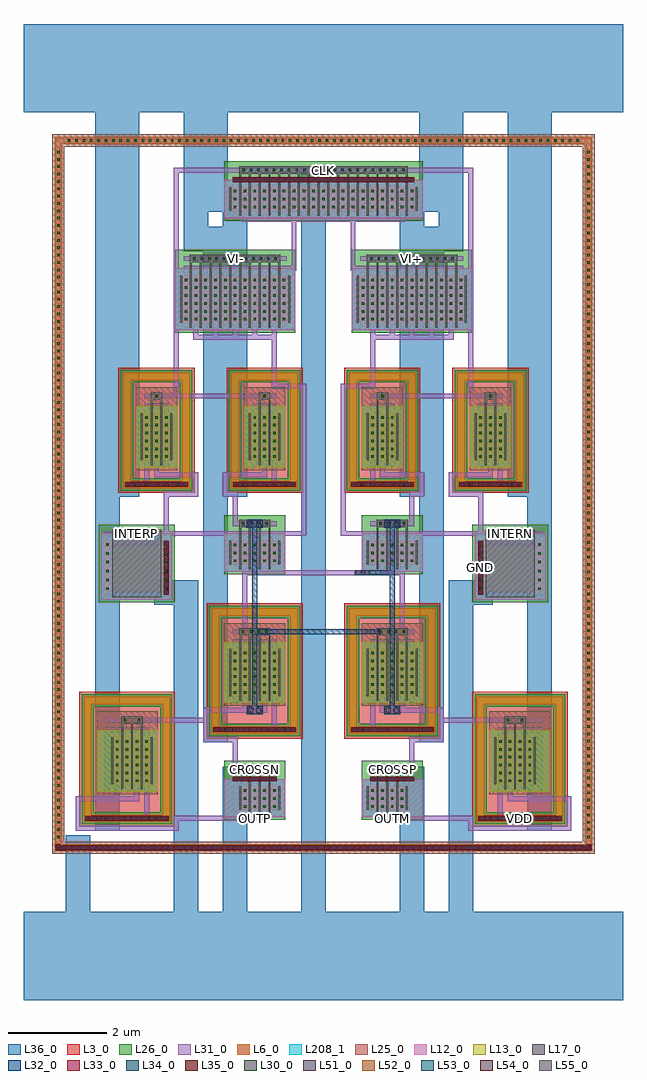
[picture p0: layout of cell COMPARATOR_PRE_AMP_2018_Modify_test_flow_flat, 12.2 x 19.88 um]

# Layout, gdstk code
import gdstk
lib = gdstk.Library(unit=1e-6, precision=1e-09)
def R(c, l, rs):  # rectangles x0, y0, x1, y1
    for r in rs: c.add(gdstk.rectangle(r[:2], r[2:], *l))
def A(c, l, x, y, w, h, nx, ny, dx, dy):  # array of equal rectangles
    R(c, l, [(x+i*dx, y+j*dy, x+i*dx+w, y+j*dy+h) for i in range(nx) for j in range(ny)])
L3_0 = (3, 0)
L6_0 = (6, 0)
L12_0 = (12, 0)
L13_0 = (13, 0)
L17_0 = (17, 0)
L25_0 = (25, 0)
L26_0 = (26, 0)
L30_0 = (30, 0)
L31_0 = (31, 0)
L32_0 = (32, 0)
L33_0 = (33, 0)
L34_0 = (34, 0)
L35_0 = (35, 0)
L36_0 = (36, 0)
L51_0 = (51, 0)
L52_0 = (52, 0)
L53_0 = (53, 0)
L54_0 = (54, 0)
L55_0 = (55, 0)
L208_1 = (208, 1)

comparator_pre_amp_2018_ = lib.new_cell('COMPARATOR_PRE_AMP_2018_Modify_test_flow_flat')
R(comparator_pre_amp_2018_, L3_0, [(-0.575,-0.375,1.375,2.375), (7.425,-0.375,9.375,2.375), (-0.22,0.34,1.02,1.6), (7.78,0.34,9.02,1.6), (2.025,1.425,3.975,4.175), (4.825,1.425,6.775,4.175), (2.38,2.14,3.62,3.4), (5.18,2.14,6.42,3.4), (0.225,6.425,1.775,8.975), (2.425,6.425,3.975,8.975), (4.825,6.425,6.375,8.975), (7.025,6.425,8.575,8.975), (0.58,6.94,1.42,8.2), (2.78,6.94,3.62,8.2), (5.18,6.94,6.02,8.2), (7.38,6.94,8.22,8.2)])
A(comparator_pre_amp_2018_, L6_0, 2.525, 6.525, 0.15, 0.15, 4, 2, 1.2, 2.2)
A(comparator_pre_amp_2018_, L6_0, 2.525, 6.675, 0.15, 2.05, 4, 1, 1.2, 0)
R(comparator_pre_amp_2018_, L6_0, [(-1.075,-0.875,-0.925,-0.725), (-0.925,-0.875,9.725,-0.725), (9.725,-0.875,9.875,-0.725), (-1.075,-0.725,-0.925,13.525), (9.725,-0.725,9.875,13.525), (-0.475,-0.275,-0.325,-0.125), (-0.325,-0.275,1.125,-0.125), (1.125,-0.275,1.275,-0.125), (7.525,-0.275,7.675,-0.125), (7.675,-0.275,9.125,-0.125), (9.125,-0.275,9.275,-0.125), (-0.475,-0.125,-0.325,2.125), (1.125,-0.125,1.275,2.125), (7.525,-0.125,7.675,2.125), (9.125,-0.125,9.275,2.125), (2.725,-0.03,3.475,0.45), (5.325,-0.03,6.075,0.45), (0.125,0.49,0.875,1.45), (7.925,0.49,8.675,1.45), (2.125,1.525,2.275,1.675), (2.275,1.525,3.725,1.675), (3.725,1.525,3.875,1.675), (4.925,1.525,5.075,1.675), (5.075,1.525,6.525,1.675), (6.525,1.525,6.675,1.675), (2.125,1.675,2.275,3.925), (3.725,1.675,3.875,3.925), (4.925,1.675,5.075,3.925), (6.525,1.675,6.675,3.925), (-0.475,2.125,-0.325,2.275), (-0.325,2.125,1.125,2.275), (1.125,2.125,1.275,2.275), (7.525,2.125,7.675,2.275), (7.675,2.125,9.125,2.275), (9.125,2.125,9.275,2.275), (2.525,2.29,3.475,3.25), (5.325,2.29,6.275,3.25), (2.125,3.925,2.275,4.075), (2.275,3.925,3.725,4.075), (3.725,3.925,3.875,4.075), (4.925,3.925,5.075,4.075), (5.075,3.925,6.525,4.075), (6.525,3.925,6.675,4.075), (-0.075,4.4,1.275,5.45), (7.525,4.4,8.875,5.45), (2.525,4.97,3.475,5.45), (5.325,4.97,6.275,5.45), (0.325,6.525,0.475,6.675), (0.475,6.525,1.525,6.675), (1.525,6.525,1.675,6.675), (2.675,6.525,3.725,6.675), (5.075,6.525,6.125,6.675), (7.125,6.525,7.275,6.675), (7.275,6.525,8.325,6.675), (8.325,6.525,8.475,6.675), (0.325,6.675,0.475,8.725), (1.525,6.675,1.675,8.725), (7.125,6.675,7.275,8.725), (8.325,6.675,8.475,8.725), (0.725,7.09,1.275,8.05), (2.925,7.09,3.475,8.05), (5.325,7.09,5.875,8.05), (7.525,7.09,8.075,8.05), (0.325,8.725,0.475,8.875), (0.475,8.725,1.525,8.875), (1.525,8.725,1.675,8.875), (2.675,8.725,3.725,8.875), (5.075,8.725,6.125,8.875), (7.125,8.725,7.275,8.875), (7.275,8.725,8.325,8.875), (8.325,8.725,8.475,8.875), (1.525,9.89,3.675,10.85), (5.125,9.89,7.275,10.85), (2.525,12.17,6.275,12.65), (-1.075,13.525,-0.925,13.675), (-0.925,13.525,9.725,13.675), (9.725,13.525,9.875,13.675)])
R(comparator_pre_amp_2018_, L12_0, [(2.38,-0.18,3.62,0.6), (5.18,-0.18,6.42,0.6), (-0.125,4.25,1.325,5.6), (7.475,4.25,8.925,5.6), (2.38,4.82,3.62,5.6), (5.18,4.82,6.42,5.6), (1.38,9.74,3.82,11), (4.98,9.74,7.42,11), (2.38,12.02,6.42,12.8)])
R(comparator_pre_amp_2018_, L13_0, [(-0.22,0.34,1.02,1.6), (7.78,0.34,9.02,1.6), (2.38,2.14,3.62,3.4), (5.18,2.14,6.42,3.4), (0.58,6.94,1.42,8.2), (2.78,6.94,3.62,8.2), (5.18,6.94,6.02,8.2), (7.38,6.94,8.22,8.2)])
A(comparator_pre_amp_2018_, L17_0, 2.88, -0.13, 0.04, 0.68, 3, 1, 0.2, 0)
A(comparator_pre_amp_2018_, L17_0, 5.48, -0.13, 0.04, 0.68, 3, 1, 0.2, 0)
A(comparator_pre_amp_2018_, L17_0, 0.28, 0.39, 0.04, 1.16, 3, 1, 0.2, 0)
A(comparator_pre_amp_2018_, L17_0, 8.08, 0.39, 0.04, 1.16, 3, 1, 0.2, 0)
A(comparator_pre_amp_2018_, L17_0, 2.88, 0.45, 0.04, 0.3, 3, 1, 0.2, 0)
A(comparator_pre_amp_2018_, L17_0, 5.48, 0.45, 0.04, 0.3, 3, 1, 0.2, 0)
A(comparator_pre_amp_2018_, L17_0, 0.28, 1.45, 0.04, 0.3, 3, 1, 0.2, 0)
A(comparator_pre_amp_2018_, L17_0, 8.08, 1.45, 0.04, 0.3, 3, 1, 0.2, 0)
A(comparator_pre_amp_2018_, L17_0, 2.68, 2.19, 0.04, 1.16, 4, 1, 0.2, 0)
A(comparator_pre_amp_2018_, L17_0, 5.48, 2.19, 0.04, 1.16, 4, 1, 0.2, 0)
A(comparator_pre_amp_2018_, L17_0, 2.68, 3.25, 0.04, 0.3, 4, 2, 0.2, 2.2)
A(comparator_pre_amp_2018_, L17_0, 5.48, 3.25, 0.04, 0.3, 4, 2, 0.2, 2.2)
A(comparator_pre_amp_2018_, L17_0, 2.68, 4.87, 0.04, 0.68, 4, 1, 0.2, 0)
A(comparator_pre_amp_2018_, L17_0, 5.48, 4.87, 0.04, 0.68, 4, 1, 0.2, 0)
A(comparator_pre_amp_2018_, L17_0, 1.68, 9.79, 0.04, 1.16, 10, 1, 0.2, 0)
A(comparator_pre_amp_2018_, L17_0, 5.28, 9.79, 0.04, 1.16, 10, 1, 0.2, 0)
A(comparator_pre_amp_2018_, L17_0, 1.68, 10.85, 0.04, 0.3, 10, 1, 0.2, 0)
A(comparator_pre_amp_2018_, L17_0, 5.28, 10.85, 0.04, 0.3, 10, 1, 0.2, 0)
A(comparator_pre_amp_2018_, L17_0, 2.68, 12.07, 0.04, 0.68, 18, 1, 0.2, 0)
A(comparator_pre_amp_2018_, L17_0, 2.68, 12.65, 0.04, 0.3, 18, 1, 0.2, 0)
R(comparator_pre_amp_2018_, L17_0, [(2.68,-0.03,2.72,0.45), (3.48,-0.03,3.52,0.45), (5.28,-0.03,5.32,0.45), (6.08,-0.03,6.12,0.45), (0.08,0.49,0.12,1.45), (0.88,0.49,0.92,1.45), (7.88,0.49,7.92,1.45), (8.68,0.49,8.72,1.45), (2.88,0.725,3.32,0.875), (5.48,0.725,5.92,0.875), (0.28,1.725,0.72,1.875), (8.08,1.725,8.52,1.875), (2.48,2.29,2.52,3.25), (3.48,2.29,3.52,3.25), (5.28,2.29,5.32,3.25), (6.28,2.29,6.32,3.25), (2.68,3.525,3.32,3.675), (5.48,3.525,6.12,3.675), (0.1,4.3,1.1,5.55), (7.7,4.3,8.7,5.55), (2.48,4.97,2.52,5.45), (3.48,4.97,3.52,5.45), (5.28,4.97,5.32,5.45), (6.28,4.97,6.32,5.45), (0.1,5.45,1.1,5.675), (7.7,5.45,8.7,5.675), (2.68,5.725,3.32,5.875), (5.48,5.725,6.12,5.875), (0.88,6.99,0.92,8.15), (1.08,6.99,1.12,8.15), (3.08,6.99,3.12,8.15), (3.28,6.99,3.32,8.15), (5.48,6.99,5.52,8.15), (5.68,6.99,5.72,8.15), (7.68,6.99,7.72,8.15), (7.88,6.99,7.92,8.15), (0.68,7.09,0.72,8.05), (1.28,7.09,1.32,8.05), (2.88,7.09,2.92,8.05), (3.48,7.09,3.52,8.05), (5.28,7.09,5.32,8.05), (5.88,7.09,5.92,8.05), (7.48,7.09,7.52,8.05), (8.08,7.09,8.12,8.05), (0.88,8.05,0.92,8.35), (1.08,8.05,1.12,8.35), (3.08,8.05,3.12,8.35), (3.28,8.05,3.32,8.35), (5.48,8.05,5.52,8.35), (5.68,8.05,5.72,8.35), (7.68,8.05,7.72,8.35), (7.88,8.05,7.92,8.35), (0.88,8.325,1.12,8.475), (3.08,8.325,3.32,8.475), (5.48,8.325,5.72,8.475), (7.68,8.325,7.92,8.475), (1.48,9.89,1.52,10.85), (3.68,9.89,3.72,10.85), (5.08,9.89,5.12,10.85), (7.28,9.89,7.32,10.85), (1.68,11.125,3.52,11.275), (5.28,11.125,7.12,11.275), (2.48,12.17,2.52,12.65), (6.28,12.17,6.32,12.65), (2.68,12.925,6.12,13.075)])
R(comparator_pre_amp_2018_, L25_0, [(-1.125,-0.925,-0.875,-0.675), (-0.925,-0.925,9.725,-0.675), (9.675,-0.925,9.925,-0.675), (-1.125,-0.725,-0.875,13.525), (9.675,-0.725,9.925,13.525), (-0.22,0.29,1.02,1.975), (7.78,0.29,9.02,1.975), (2.38,2.09,3.62,3.775), (5.18,2.09,6.42,3.775), (0.58,6.89,1.42,8.575), (2.78,6.89,3.62,8.575), (5.18,6.89,6.02,8.575), (7.38,6.89,8.22,8.575), (-1.125,13.475,-0.875,13.725), (-0.925,13.475,9.725,13.725), (9.675,13.475,9.925,13.725)])
A(comparator_pre_amp_2018_, L26_0, 2.475, 6.475, 0.25, 0.25, 4, 2, 1.2, 2.2)
A(comparator_pre_amp_2018_, L26_0, 2.475, 6.675, 0.25, 2.05, 4, 1, 1.2, 0)
R(comparator_pre_amp_2018_, L26_0, [(-0.525,-0.325,-0.275,-0.075), (-0.325,-0.325,1.125,-0.075), (1.075,-0.325,1.325,-0.075), (7.475,-0.325,7.725,-0.075), (7.675,-0.325,9.125,-0.075), (9.075,-0.325,9.325,-0.075), (2.38,-0.23,3.62,0.975), (5.18,-0.23,6.42,0.975), (-0.525,-0.125,-0.275,2.125), (1.075,-0.125,1.325,2.125), (7.475,-0.125,7.725,2.125), (9.075,-0.125,9.325,2.125), (2.075,1.475,2.325,1.725), (2.275,1.475,3.725,1.725), (3.675,1.475,3.925,1.725), (4.875,1.475,5.125,1.725), (5.075,1.475,6.525,1.725), (6.475,1.475,6.725,1.725), (2.075,1.675,2.325,3.925), (3.675,1.675,3.925,3.925), (4.875,1.675,5.125,3.925), (6.475,1.675,6.725,3.925), (-0.525,2.075,-0.275,2.325), (-0.325,2.075,1.125,2.325), (1.075,2.075,1.325,2.325), (7.475,2.075,7.725,2.325), (7.675,2.075,9.125,2.325), (9.075,2.075,9.325,2.325), (2.075,3.875,2.325,4.125), (2.275,3.875,3.725,4.125), (3.675,3.875,3.925,4.125), (4.875,3.875,5.125,4.125), (5.075,3.875,6.525,4.125), (6.475,3.875,6.725,4.125), (-0.175,4.2,1.375,5.775), (7.425,4.2,8.975,5.775), (2.38,4.77,3.62,5.975), (5.18,4.77,6.42,5.975), (0.275,6.475,0.525,6.725), (0.475,6.475,1.525,6.725), (1.475,6.475,1.725,6.725), (2.675,6.475,3.725,6.725), (5.075,6.475,6.125,6.725), (7.075,6.475,7.325,6.725), (7.275,6.475,8.325,6.725), (8.275,6.475,8.525,6.725), (0.275,6.675,0.525,8.725), (1.475,6.675,1.725,8.725), (7.075,6.675,7.325,8.725), (8.275,6.675,8.525,8.725), (0.275,8.675,0.525,8.925), (0.475,8.675,1.525,8.925), (1.475,8.675,1.725,8.925), (2.675,8.675,3.725,8.925), (5.075,8.675,6.125,8.925), (7.075,8.675,7.325,8.925), (7.275,8.675,8.325,8.925), (8.275,8.675,8.525,8.925), (1.38,9.69,3.82,11.375), (4.98,9.69,7.42,11.375), (2.38,11.97,6.42,13.175)])
A(comparator_pre_amp_2018_, L30_0, -0.805, -0.825, 0.05, 0.05, 70, 2, 0.15, 14.4)
A(comparator_pre_amp_2018_, L30_0, -1.025, -0.605, 0.05, 0.05, 1, 94, 0, 0.15)
A(comparator_pre_amp_2018_, L30_0, 9.775, -0.605, 0.05, 0.05, 1, 94, 0, 0.15)
A(comparator_pre_amp_2018_, L30_0, -0.265, -0.225, 0.05, 0.05, 9, 1, 0.16, 0)
A(comparator_pre_amp_2018_, L30_0, 7.735, -0.225, 0.05, 0.05, 9, 1, 0.16, 0)
A(comparator_pre_amp_2018_, L30_0, 2.775, 0.02, 0.05, 0.05, 4, 3, 0.2, 0.16)
A(comparator_pre_amp_2018_, L30_0, 5.375, 0.02, 0.05, 0.05, 4, 3, 0.2, 0.16)
A(comparator_pre_amp_2018_, L30_0, 0.175, 0.54, 0.05, 0.05, 4, 6, 0.2, 0.16)
A(comparator_pre_amp_2018_, L30_0, 7.975, 0.54, 0.05, 0.05, 4, 6, 0.2, 0.16)
A(comparator_pre_amp_2018_, L30_0, 2.335, 1.575, 0.05, 0.05, 9, 1, 0.16, 0)
A(comparator_pre_amp_2018_, L30_0, 5.135, 1.575, 0.05, 0.05, 9, 1, 0.16, 0)
A(comparator_pre_amp_2018_, L30_0, 2.575, 2.34, 0.05, 0.05, 5, 6, 0.2, 0.16)
A(comparator_pre_amp_2018_, L30_0, 5.375, 2.34, 0.05, 0.05, 5, 6, 0.2, 0.16)
A(comparator_pre_amp_2018_, L30_0, 2.735, 3.575, 0.05, 0.05, 4, 2, 0.16, 2.2)
A(comparator_pre_amp_2018_, L30_0, 5.535, 3.575, 0.05, 0.05, 4, 2, 0.16, 2.2)
A(comparator_pre_amp_2018_, L30_0, -0.025, 4.45, 0.05, 0.05, 1, 6, 0, 0.18)
A(comparator_pre_amp_2018_, L30_0, 1.175, 4.45, 0.05, 0.05, 1, 6, 0, 0.18)
A(comparator_pre_amp_2018_, L30_0, 7.575, 4.45, 0.05, 0.05, 1, 6, 0, 0.18)
A(comparator_pre_amp_2018_, L30_0, 8.775, 4.45, 0.05, 0.05, 1, 6, 0, 0.18)
A(comparator_pre_amp_2018_, L30_0, 2.575, 5.02, 0.05, 0.05, 5, 3, 0.2, 0.16)
A(comparator_pre_amp_2018_, L30_0, 5.375, 5.02, 0.05, 0.05, 5, 3, 0.2, 0.16)
A(comparator_pre_amp_2018_, L30_0, 0.16, 5.575, 0.05, 0.05, 6, 1, 0.165, 0)
A(comparator_pre_amp_2018_, L30_0, 7.765, 5.575, 0.05, 0.05, 6, 1, 0.165, 0)
A(comparator_pre_amp_2018_, L30_0, 0.525, 6.575, 0.05, 0.05, 6, 1, 0.18, 0)
A(comparator_pre_amp_2018_, L30_0, 2.725, 6.575, 0.05, 0.05, 6, 1, 0.18, 0)
A(comparator_pre_amp_2018_, L30_0, 5.125, 6.575, 0.05, 0.05, 6, 1, 0.18, 0)
A(comparator_pre_amp_2018_, L30_0, 7.325, 6.575, 0.05, 0.05, 6, 1, 0.18, 0)
A(comparator_pre_amp_2018_, L30_0, 0.775, 7.14, 0.05, 0.05, 3, 6, 0.2, 0.16)
A(comparator_pre_amp_2018_, L30_0, 2.975, 7.14, 0.05, 0.05, 3, 6, 0.2, 0.16)
A(comparator_pre_amp_2018_, L30_0, 5.375, 7.14, 0.05, 0.05, 3, 6, 0.2, 0.16)
A(comparator_pre_amp_2018_, L30_0, 7.575, 7.14, 0.05, 0.05, 3, 6, 0.2, 0.16)
A(comparator_pre_amp_2018_, L30_0, 1.575, 9.94, 0.05, 0.05, 11, 6, 0.2, 0.16)
A(comparator_pre_amp_2018_, L30_0, 5.175, 9.94, 0.05, 0.05, 11, 6, 0.2, 0.16)
A(comparator_pre_amp_2018_, L30_0, 1.75, 11.175, 0.05, 0.05, 12, 1, 0.15, 0)
A(comparator_pre_amp_2018_, L30_0, 5.35, 11.175, 0.05, 0.05, 12, 1, 0.15, 0)
A(comparator_pre_amp_2018_, L30_0, 2.575, 12.225, 0.05, 0.05, 19, 3, 0.2, 0.16)
A(comparator_pre_amp_2018_, L30_0, 2.745, 12.975, 0.05, 0.05, 22, 1, 0.155, 0)
R(comparator_pre_amp_2018_, L30_0, [(2.935,0.775,2.985,0.825), (3.22,0.775,3.27,0.825), (5.53,0.775,5.58,0.825), (5.815,0.775,5.865,0.825), (0.335,1.775,0.385,1.825), (0.62,1.775,0.67,1.825), (8.13,1.775,8.18,1.825), (8.415,1.775,8.465,1.825), (0.975,8.375,1.025,8.425), (3.175,8.375,3.225,8.425), (5.575,8.375,5.625,8.425), (7.775,8.375,7.825,8.425)])
A(comparator_pre_amp_2018_, L31_0, 2.55, -0.05, 0.1, 0.5, 5, 2, 0.2, 5)
A(comparator_pre_amp_2018_, L31_0, 5.35, -0.05, 0.1, 0.5, 5, 2, 0.2, 5)
A(comparator_pre_amp_2018_, L31_0, 2.75, -0.03, 0.1, 0.48, 4, 1, 0.2, 0)
A(comparator_pre_amp_2018_, L31_0, 5.35, -0.03, 0.1, 0.48, 4, 1, 0.2, 0)
A(comparator_pre_amp_2018_, L31_0, -0.05, 0.35, 0.1, 1.1, 5, 1, 0.2, 0)
A(comparator_pre_amp_2018_, L31_0, 7.95, 0.35, 0.1, 1.1, 5, 1, 0.2, 0)
A(comparator_pre_amp_2018_, L31_0, 2.55, 0.45, 0.1, 0.1, 3, 2, 0.4, 2.8)
A(comparator_pre_amp_2018_, L31_0, 5.35, 0.45, 0.1, 0.1, 3, 2, 0.4, 2.8)
A(comparator_pre_amp_2018_, L31_0, 0.15, 0.49, 0.1, 0.96, 4, 1, 0.2, 0)
A(comparator_pre_amp_2018_, L31_0, 7.95, 0.49, 0.1, 0.96, 4, 1, 0.2, 0)
A(comparator_pre_amp_2018_, L31_0, -0.05, 1.45, 0.1, 0.1, 3, 1, 0.4, 0)
A(comparator_pre_amp_2018_, L31_0, 7.95, 1.45, 0.1, 0.1, 3, 1, 0.4, 0)
A(comparator_pre_amp_2018_, L31_0, 2.55, 2.15, 0.1, 1.1, 5, 1, 0.2, 0)
A(comparator_pre_amp_2018_, L31_0, 5.35, 2.15, 0.1, 1.1, 5, 1, 0.2, 0)
A(comparator_pre_amp_2018_, L31_0, 2.55, 2.29, 0.1, 0.96, 5, 1, 0.2, 0)
A(comparator_pre_amp_2018_, L31_0, 5.35, 2.29, 0.1, 0.96, 5, 1, 0.2, 0)
A(comparator_pre_amp_2018_, L31_0, 2.55, 4.97, 0.1, 0.48, 5, 1, 0.2, 0)
A(comparator_pre_amp_2018_, L31_0, 5.35, 4.97, 0.1, 0.48, 5, 1, 0.2, 0)
A(comparator_pre_amp_2018_, L31_0, 2.55, 5.45, 0.1, 0.1, 3, 1, 0.4, 0)
A(comparator_pre_amp_2018_, L31_0, 5.35, 5.45, 0.1, 0.1, 3, 1, 0.4, 0)
A(comparator_pre_amp_2018_, L31_0, 2.55, 6.55, 0.1, 0.1, 4, 1, 1.2, 0)
A(comparator_pre_amp_2018_, L31_0, 0.75, 6.95, 0.1, 1.1, 3, 1, 0.2, 0)
A(comparator_pre_amp_2018_, L31_0, 2.95, 6.95, 0.1, 1.1, 3, 1, 0.2, 0)
A(comparator_pre_amp_2018_, L31_0, 5.35, 6.95, 0.1, 1.1, 3, 1, 0.2, 0)
A(comparator_pre_amp_2018_, L31_0, 7.55, 6.95, 0.1, 1.1, 3, 1, 0.2, 0)
A(comparator_pre_amp_2018_, L31_0, 0.75, 7.09, 0.1, 0.96, 3, 1, 0.2, 0)
A(comparator_pre_amp_2018_, L31_0, 2.95, 7.09, 0.1, 0.96, 3, 1, 0.2, 0)
A(comparator_pre_amp_2018_, L31_0, 5.35, 7.09, 0.1, 0.96, 3, 1, 0.2, 0)
A(comparator_pre_amp_2018_, L31_0, 7.55, 7.09, 0.1, 0.96, 3, 1, 0.2, 0)
A(comparator_pre_amp_2018_, L31_0, 1.75, 9.65, 0.1, 0.1, 5, 1, 0.4, 0)
A(comparator_pre_amp_2018_, L31_0, 5.35, 9.65, 0.1, 0.1, 5, 1, 0.4, 0)
A(comparator_pre_amp_2018_, L31_0, 1.55, 9.75, 0.1, 1.1, 11, 1, 0.2, 0)
A(comparator_pre_amp_2018_, L31_0, 5.15, 9.75, 0.1, 1.1, 11, 1, 0.2, 0)
A(comparator_pre_amp_2018_, L31_0, 1.55, 9.89, 0.1, 0.96, 11, 1, 0.2, 0)
A(comparator_pre_amp_2018_, L31_0, 5.15, 9.89, 0.1, 0.96, 11, 1, 0.2, 0)
A(comparator_pre_amp_2018_, L31_0, 1.55, 10.85, 0.1, 0.1, 6, 1, 0.4, 0)
A(comparator_pre_amp_2018_, L31_0, 5.15, 10.85, 0.1, 0.1, 6, 1, 0.4, 0)
A(comparator_pre_amp_2018_, L31_0, 2.75, 12.05, 0.1, 0.1, 9, 1, 0.4, 0)
A(comparator_pre_amp_2018_, L31_0, 2.55, 12.15, 0.1, 0.5, 19, 1, 0.2, 0)
A(comparator_pre_amp_2018_, L31_0, 2.55, 12.17, 0.1, 0.48, 19, 1, 0.2, 0)
A(comparator_pre_amp_2018_, L31_0, 2.55, 12.65, 0.1, 0.1, 10, 1, 0.4, 0)
R(comparator_pre_amp_2018_, L31_0, [(-1.05,-0.85,-0.95,-0.75), (-0.95,-0.85,-0.925,-0.75), (-0.925,-0.85,9.725,-0.75), (9.725,-0.85,9.75,-0.75), (9.75,-0.85,9.85,-0.75), (-1.05,-0.75,-0.95,-0.725), (9.75,-0.75,9.85,-0.725), (-1.05,-0.725,-0.95,13.525), (9.75,-0.725,9.85,13.525), (-0.65,-0.45,1.45,-0.35), (-0.65,-0.45,-0.55,0.25), (1.35,-0.45,1.45,-0.15), (7.35,-0.45,9.45,-0.35), (7.35,-0.45,7.45,-0.15), (9.35,-0.45,9.45,0.25), (-0.45,-0.25,-0.35,-0.15), (-0.35,-0.25,-0.325,-0.15), (-0.325,-0.25,1.125,-0.15), (0.75,-0.25,0.85,1.55), (1.125,-0.25,1.15,-0.15), (1.15,-0.25,1.25,-0.15), (1.35,-0.25,2.85,-0.15), (2.75,-0.25,3.25,-0.15), (5.55,-0.25,6.05,-0.15), (5.95,-0.25,7.45,-0.15), (7.55,-0.25,7.65,-0.15), (7.65,-0.25,7.675,-0.15), (7.675,-0.25,9.125,-0.15), (7.95,-0.25,8.05,1.55), (9.125,-0.25,9.15,-0.15), (9.15,-0.25,9.25,-0.15), (2.75,-0.15,2.85,-0.05), (3.15,-0.15,3.25,-0.05), (5.55,-0.15,5.65,-0.05), (5.95,-0.15,6.05,-0.05), (-0.65,0.15,0.25,0.25), (0.15,0.15,0.65,0.25), (8.15,0.15,8.65,0.25), (8.55,0.15,9.45,0.25), (0.15,0.25,0.25,0.35), (0.55,0.25,0.65,0.35), (8.15,0.25,8.25,0.35), (8.55,0.25,8.65,0.35), (2.55,0.55,3.45,0.65), (5.35,0.55,6.25,0.65), (2.55,0.75,3.45,0.85), (2.55,0.75,2.65,1.45), (2.88,0.75,3.32,0.85), (5.35,0.75,6.25,0.85), (5.48,0.75,5.92,0.85), (6.15,0.75,6.25,1.45), (1.95,1.35,2.05,2.05), (1.95,1.35,2.65,1.45), (6.15,1.35,6.85,1.45), (6.75,1.35,6.85,2.05), (-0.05,1.55,0.85,1.65), (2.15,1.55,2.25,1.65), (2.25,1.55,2.275,1.65), (2.275,1.55,3.725,1.65), (3.35,1.55,3.45,3.35), (3.725,1.55,3.75,1.65), (3.75,1.55,3.85,1.65), (4.95,1.55,5.05,1.65), (5.05,1.55,5.075,1.65), (5.075,1.55,6.525,1.65), (5.35,1.55,5.45,3.35), (6.525,1.55,6.55,1.65), (6.55,1.55,6.65,1.65), (7.95,1.55,8.85,1.65), (-0.05,1.75,0.85,1.85), (0.28,1.75,0.72,1.85), (0.75,1.75,2.05,1.85), (6.75,1.75,8.05,1.85), (7.95,1.75,8.85,1.85), (8.08,1.75,8.52,1.85), (2.84,1.92,3.16,2.08), (5.64,1.92,5.96,2.08), (1.95,1.95,2.85,2.05), (2.75,1.95,3.25,2.05), (5.55,1.95,6.05,2.05), (5.95,1.95,6.85,2.05), (2.75,2.05,2.85,2.15), (3.15,2.05,3.25,2.15), (5.55,2.05,5.65,2.15), (5.95,2.05,6.05,2.15), (2.55,3.35,3.45,3.45), (5.35,3.35,6.25,3.45), (2.55,3.55,3.45,3.65), (2.68,3.55,3.32,3.65), (2.75,3.55,2.85,4.85), (5.24,3.55,5.56,3.65), (5.35,3.55,6.25,3.65), (5.48,3.55,6.12,3.65), (5.95,3.55,6.05,4.85), (-0.05,4.35,0.05,5.45), (1.15,4.35,1.25,5.45), (7.55,4.35,7.65,5.45), (8.75,4.35,8.85,5.45), (-0.05,4.4,0.05,5.45), (1.15,4.4,1.25,5.45), (7.55,4.4,7.65,5.45), (8.75,4.4,8.85,5.45), (2.75,4.75,3.25,4.85), (3.15,4.75,5.25,4.85), (5.04,4.75,5.36,4.85), (5.55,4.75,6.05,4.85), (2.75,4.85,2.85,4.95), (3.15,4.85,3.25,4.95), (5.55,4.85,5.65,4.95), (5.95,4.85,6.05,4.95), (-0.05,5.35,1.25,5.45), (7.55,5.35,8.85,5.45), (-0.05,5.55,1.25,5.65), (0.1,5.55,1.1,5.65), (1.15,5.55,1.25,6.45), (1.15,5.55,2.65,5.65), (2.55,5.55,3.45,5.65), (3.35,5.55,4.05,5.65), (3.95,5.55,4.05,8.65), (4.75,5.55,5.45,5.65), (4.75,5.55,4.85,8.65), (5.35,5.55,6.25,5.65), (6.15,5.55,7.65,5.65), (7.55,5.55,8.85,5.65), (7.55,5.55,7.65,6.45), (7.7,5.55,8.7,5.65), (2.84,5.72,3.16,5.88), (5.64,5.72,5.96,5.88), (2.55,5.75,3.45,5.85), (2.55,5.75,2.65,6.45), (2.68,5.75,3.32,5.85), (5.35,5.75,6.25,5.85), (5.48,5.75,6.12,5.85), (6.15,5.75,6.25,6.45), (1.15,6.35,1.85,6.45), (1.75,6.35,1.85,6.85), (2.35,6.35,2.45,6.85), (2.35,6.35,2.65,6.45), (6.15,6.35,6.45,6.45), (6.35,6.35,6.45,6.85), (6.95,6.35,7.05,6.85), (6.95,6.35,7.65,6.45), (0.35,6.55,0.45,6.65), (0.45,6.55,0.475,6.65), (0.475,6.55,1.525,6.65), (0.75,6.55,0.85,8.15), (1.525,6.55,1.55,6.65), (1.55,6.55,1.65,6.65), (2.65,6.55,2.675,6.65), (2.675,6.55,3.725,6.65), (3.35,6.55,3.45,8.15), (3.725,6.55,3.75,6.65), (5.05,6.55,5.075,6.65), (5.075,6.55,6.125,6.65), (5.35,6.55,5.45,8.15), (6.125,6.55,6.15,6.65), (7.15,6.55,7.25,6.65), (7.25,6.55,7.275,6.65), (7.275,6.55,8.325,6.65), (7.95,6.55,8.05,8.15), (8.325,6.55,8.35,6.65), (8.35,6.55,8.45,6.65), (0.95,6.75,1.85,6.85), (0.95,6.75,1.05,7.05), (2.35,6.75,3.25,6.85), (3.15,6.75,3.25,7.05), (5.55,6.75,6.45,6.85), (5.55,6.75,5.65,7.05), (6.95,6.75,7.85,6.85), (7.75,6.75,7.85,7.05), (0.75,8.05,0.85,8.15), (1.15,8.05,1.25,8.15), (2.95,8.05,3.05,8.15), (3.35,8.05,3.45,8.15), (5.35,8.05,5.45,8.15), (5.75,8.05,5.85,8.15), (7.55,8.05,7.65,8.15), (7.95,8.05,8.05,8.15), (0.75,8.15,1.25,8.25), (2.95,8.15,3.45,8.25), (5.35,8.15,5.85,8.25), (7.55,8.15,8.05,8.25), (0.75,8.35,1.25,8.45), (0.88,8.35,1.12,8.45), (1.15,8.35,3.05,8.45), (1.35,8.35,1.45,13.05), (2.95,8.35,3.45,8.45), (3.08,8.35,3.32,8.45), (5.35,8.35,5.85,8.45), (5.48,8.35,5.72,8.45), (5.75,8.35,7.65,8.45), (7.35,8.35,7.45,13.05), (7.55,8.35,8.05,8.45), (7.68,8.35,7.92,8.45), (3.35,8.55,3.45,9.65), (3.35,8.55,4.05,8.65), (4.75,8.55,5.45,8.65), (5.35,8.55,5.45,9.65), (1.75,9.55,3.45,9.65), (5.35,9.55,7.05,9.65), (1.55,10.95,3.65,11.05), (3.55,10.95,3.85,11.05), (3.75,10.95,3.85,12.05), (4.95,10.95,5.05,12.05), (4.95,10.95,5.25,11.05), (5.15,10.95,7.25,11.05), (1.55,11.15,3.65,11.25), (1.68,11.15,3.52,11.25), (5.15,11.15,7.25,11.25), (5.28,11.15,7.12,11.25), (2.75,11.95,6.05,12.05), (2.55,12.75,6.25,12.85), (1.35,12.95,2.65,13.05), (2.55,12.95,6.25,13.05), (2.68,12.95,6.12,13.05), (6.15,12.95,7.45,13.05), (-1.05,13.525,-0.95,13.55), (9.75,13.525,9.85,13.55), (-1.05,13.55,-0.95,13.65), (-0.95,13.55,-0.925,13.65), (-0.925,13.55,9.725,13.65), (9.725,13.55,9.75,13.65), (9.75,13.55,9.85,13.65)])
A(comparator_pre_amp_2018_, L32_0, 2.55, 6.55, 0.1, 0.1, 4, 1, 1.2, 0)
R(comparator_pre_amp_2018_, L32_0, [(-1.05,-0.85,-0.95,-0.75), (-0.95,-0.85,-0.925,-0.75), (-0.925,-0.85,9.725,-0.75), (9.725,-0.85,9.75,-0.75), (9.75,-0.85,9.85,-0.75), (-1.05,-0.75,-0.95,-0.725), (9.75,-0.75,9.85,-0.725), (-0.45,-0.25,-0.35,-0.15), (-0.35,-0.25,-0.325,-0.15), (-0.325,-0.25,1.125,-0.15), (1.125,-0.25,1.15,-0.15), (1.15,-0.25,1.25,-0.15), (7.55,-0.25,7.65,-0.15), (7.65,-0.25,7.675,-0.15), (7.675,-0.25,9.125,-0.15), (9.125,-0.25,9.15,-0.15), (9.15,-0.25,9.25,-0.15), (2.55,0.55,3.45,0.65), (5.35,0.55,6.25,0.65), (2.15,1.55,2.25,1.65), (2.25,1.55,2.275,1.65), (2.275,1.55,3.725,1.65), (3.725,1.55,3.75,1.65), (3.75,1.55,3.85,1.65), (4.95,1.55,5.05,1.65), (5.05,1.55,5.075,1.65), (5.075,1.55,6.525,1.65), (6.525,1.55,6.55,1.65), (6.55,1.55,6.65,1.65), (2.84,1.92,3.16,2.08), (5.64,1.92,5.96,2.08), (2.95,1.95,3.05,5.85), (5.75,1.95,5.85,5.85), (2.95,3.55,5.45,3.65), (5.24,3.55,5.56,3.65), (1.15,4.35,1.25,5.45), (7.55,4.35,7.65,5.45), (5.04,4.75,5.36,4.85), (5.15,4.75,5.85,4.85), (2.84,5.72,3.16,5.88), (5.64,5.72,5.96,5.88), (0.35,6.55,0.45,6.65), (0.45,6.55,0.475,6.65), (0.475,6.55,1.525,6.65), (1.525,6.55,1.55,6.65), (1.55,6.55,1.65,6.65), (2.65,6.55,2.675,6.65), (2.675,6.55,3.725,6.65), (3.725,6.55,3.75,6.65), (5.05,6.55,5.075,6.65), (5.075,6.55,6.125,6.65), (6.125,6.55,6.15,6.65), (7.15,6.55,7.25,6.65), (7.25,6.55,7.275,6.65), (7.275,6.55,8.325,6.65), (8.325,6.55,8.35,6.65), (8.35,6.55,8.45,6.65), (2.55,12.75,6.25,12.85)])
A(comparator_pre_amp_2018_, L33_0, 2.55, 6.55, 0.1, 0.1, 4, 1, 1.2, 0)
R(comparator_pre_amp_2018_, L33_0, [(-1.05,-0.85,-0.95,-0.75), (-0.95,-0.85,-0.925,-0.75), (-0.925,-0.85,9.725,-0.75), (9.725,-0.85,9.75,-0.75), (9.75,-0.85,9.85,-0.75), (-1.05,-0.75,-0.95,-0.725), (9.75,-0.75,9.85,-0.725), (-0.45,-0.25,-0.35,-0.15), (-0.35,-0.25,-0.325,-0.15), (-0.325,-0.25,1.125,-0.15), (1.125,-0.25,1.15,-0.15), (1.15,-0.25,1.25,-0.15), (7.55,-0.25,7.65,-0.15), (7.65,-0.25,7.675,-0.15), (7.675,-0.25,9.125,-0.15), (9.125,-0.25,9.15,-0.15), (9.15,-0.25,9.25,-0.15), (2.55,0.55,3.45,0.65), (5.35,0.55,6.25,0.65), (2.15,1.55,2.25,1.65), (2.25,1.55,2.275,1.65), (2.275,1.55,3.725,1.65), (3.725,1.55,3.75,1.65), (3.75,1.55,3.85,1.65), (4.95,1.55,5.05,1.65), (5.05,1.55,5.075,1.65), (5.075,1.55,6.525,1.65), (6.525,1.55,6.55,1.65), (6.55,1.55,6.65,1.65), (1.15,4.35,1.25,5.45), (7.55,4.35,7.65,5.45), (0.35,6.55,0.45,6.65), (0.45,6.55,0.475,6.65), (0.475,6.55,1.525,6.65), (1.525,6.55,1.55,6.65), (1.55,6.55,1.65,6.65), (2.65,6.55,2.675,6.65), (2.675,6.55,3.725,6.65), (3.725,6.55,3.75,6.65), (5.05,6.55,5.075,6.65), (5.075,6.55,6.125,6.65), (6.125,6.55,6.15,6.65), (7.15,6.55,7.25,6.65), (7.25,6.55,7.275,6.65), (7.275,6.55,8.325,6.65), (8.325,6.55,8.35,6.65), (8.35,6.55,8.45,6.65), (2.55,12.75,6.25,12.85)])
A(comparator_pre_amp_2018_, L34_0, 2.55, 6.55, 0.1, 0.1, 4, 1, 1.2, 0)
R(comparator_pre_amp_2018_, L34_0, [(-1.05,-0.85,-0.95,-0.75), (-0.95,-0.85,-0.925,-0.75), (-0.925,-0.85,9.725,-0.75), (9.725,-0.85,9.75,-0.75), (9.75,-0.85,9.85,-0.75), (-1.05,-0.75,-0.95,-0.725), (9.75,-0.75,9.85,-0.725), (-0.45,-0.25,-0.35,-0.15), (-0.35,-0.25,-0.325,-0.15), (-0.325,-0.25,1.125,-0.15), (1.125,-0.25,1.15,-0.15), (1.15,-0.25,1.25,-0.15), (7.55,-0.25,7.65,-0.15), (7.65,-0.25,7.675,-0.15), (7.675,-0.25,9.125,-0.15), (9.125,-0.25,9.15,-0.15), (9.15,-0.25,9.25,-0.15), (2.55,0.55,3.45,0.65), (5.35,0.55,6.25,0.65), (2.15,1.55,2.25,1.65), (2.25,1.55,2.275,1.65), (2.275,1.55,3.725,1.65), (3.725,1.55,3.75,1.65), (3.75,1.55,3.85,1.65), (4.95,1.55,5.05,1.65), (5.05,1.55,5.075,1.65), (5.075,1.55,6.525,1.65), (6.525,1.55,6.55,1.65), (6.55,1.55,6.65,1.65), (1.15,4.35,1.25,5.45), (7.55,4.35,7.65,5.45), (0.35,6.55,0.45,6.65), (0.45,6.55,0.475,6.65), (0.475,6.55,1.525,6.65), (1.525,6.55,1.55,6.65), (1.55,6.55,1.65,6.65), (2.65,6.55,2.675,6.65), (2.675,6.55,3.725,6.65), (3.725,6.55,3.75,6.65), (5.05,6.55,5.075,6.65), (5.075,6.55,6.125,6.65), (6.125,6.55,6.15,6.65), (7.15,6.55,7.25,6.65), (7.25,6.55,7.275,6.65), (7.275,6.55,8.325,6.65), (8.325,6.55,8.35,6.65), (8.35,6.55,8.45,6.65), (2.55,12.75,6.25,12.85)])
A(comparator_pre_amp_2018_, L35_0, 2.55, 6.55, 0.1, 0.1, 4, 1, 1.2, 0)
R(comparator_pre_amp_2018_, L35_0, [(-1.05,-0.85,-0.95,-0.75), (-0.95,-0.85,-0.925,-0.75), (-0.925,-0.85,9.725,-0.75), (9.725,-0.85,9.75,-0.75), (9.75,-0.85,9.85,-0.75), (-1.05,-0.75,-0.95,-0.725), (9.75,-0.75,9.85,-0.725), (-0.45,-0.25,-0.35,-0.15), (-0.35,-0.25,-0.325,-0.15), (-0.325,-0.25,1.125,-0.15), (1.125,-0.25,1.15,-0.15), (1.15,-0.25,1.25,-0.15), (7.55,-0.25,7.65,-0.15), (7.65,-0.25,7.675,-0.15), (7.675,-0.25,9.125,-0.15), (9.125,-0.25,9.15,-0.15), (9.15,-0.25,9.25,-0.15), (2.55,0.55,3.45,0.65), (5.35,0.55,6.25,0.65), (2.15,1.55,2.25,1.65), (2.25,1.55,2.275,1.65), (2.275,1.55,3.725,1.65), (3.725,1.55,3.75,1.65), (3.75,1.55,3.85,1.65), (4.95,1.55,5.05,1.65), (5.05,1.55,5.075,1.65), (5.075,1.55,6.525,1.65), (6.525,1.55,6.55,1.65), (6.55,1.55,6.65,1.65), (1.15,4.35,1.25,5.45), (7.55,4.35,7.65,5.45), (0.35,6.55,0.45,6.65), (0.45,6.55,0.475,6.65), (0.475,6.55,1.525,6.65), (1.525,6.55,1.55,6.65), (1.55,6.55,1.65,6.65), (2.65,6.55,2.675,6.65), (2.675,6.55,3.725,6.65), (3.725,6.55,3.75,6.65), (5.05,6.55,5.075,6.65), (5.075,6.55,6.125,6.65), (6.125,6.55,6.15,6.65), (7.15,6.55,7.25,6.65), (7.25,6.55,7.275,6.65), (7.275,6.55,8.325,6.65), (8.325,6.55,8.35,6.65), (8.35,6.55,8.45,6.65), (2.55,12.75,6.25,12.85)])
A(comparator_pre_amp_2018_, L36_0, 2.55, 6.55, 0.1, 0.1, 4, 1, 1.2, 0)
R(comparator_pre_amp_2018_, L36_0, [(-1.7,-3.9,10.5,-2.1), (-0.85,-2.45,-0.35,-0.55), (1.35,-2.45,1.85,4.65), (2.35,-2.45,2.85,0.85), (3.95,-2.45,4.45,13.05), (5.95,-2.45,6.45,0.85), (6.95,-2.45,7.45,4.65), (-1.05,-0.85,-0.95,-0.75), (-0.95,-0.85,-0.925,-0.75), (-0.925,-0.85,9.725,-0.75), (9.725,-0.85,9.75,-0.75), (9.75,-0.85,9.85,-0.75), (-1.05,-0.75,-0.95,-0.725), (9.75,-0.75,9.85,-0.725), (-0.25,-0.45,0.25,14.45), (8.55,-0.45,9.05,14.45), (-0.45,-0.25,-0.35,-0.15), (-0.35,-0.25,-0.325,-0.15), (-0.325,-0.25,1.125,-0.15), (1.125,-0.25,1.15,-0.15), (1.15,-0.25,1.25,-0.15), (7.55,-0.25,7.65,-0.15), (7.65,-0.25,7.675,-0.15), (7.675,-0.25,9.125,-0.15), (9.125,-0.25,9.15,-0.15), (9.15,-0.25,9.25,-0.15), (2.55,0.55,3.45,0.65), (5.35,0.55,6.25,0.65), (1.95,1.35,2.45,11.85), (6.35,1.35,6.85,11.85), (2.15,1.55,2.25,1.65), (2.25,1.55,2.275,1.65), (2.275,1.55,3.725,1.65), (3.725,1.55,3.75,1.65), (3.75,1.55,3.85,1.65), (4.95,1.55,5.05,1.65), (5.05,1.55,5.075,1.65), (5.075,1.55,6.525,1.65), (6.525,1.55,6.55,1.65), (6.55,1.55,6.65,1.65), (0.95,4.15,1.85,4.65), (6.95,4.15,7.85,4.65), (1.15,4.35,1.25,5.45), (7.55,4.35,7.65,5.45), (0.15,6.35,0.65,14.45), (2.35,6.35,2.85,12.65), (5.95,6.35,6.45,12.65), (8.15,6.35,8.65,14.45), (0.35,6.55,0.45,6.65), (0.45,6.55,0.475,6.65), (0.475,6.55,1.525,6.65), (1.525,6.55,1.55,6.65), (1.55,6.55,1.65,6.65), (2.65,6.55,2.675,6.65), (2.675,6.55,3.725,6.65), (3.725,6.55,3.75,6.65), (5.05,6.55,5.075,6.65), (5.075,6.55,6.125,6.65), (6.125,6.55,6.15,6.65), (7.15,6.55,7.25,6.65), (7.25,6.55,7.275,6.65), (7.275,6.55,8.325,6.65), (8.325,6.55,8.35,6.65), (8.35,6.55,8.45,6.65), (1.55,11.35,2.45,11.85), (1.55,11.35,2.05,14.45), (6.35,11.35,7.25,11.85), (6.75,11.35,7.25,14.45), (1.95,12.15,2.85,12.65), (1.95,12.15,2.45,14.45), (5.95,12.15,6.85,12.65), (6.35,12.15,6.85,14.45), (2.55,12.75,6.25,12.85), (-1.7,14.175,10.5,15.975)])
A(comparator_pre_amp_2018_, L51_0, -0.805, -0.825, 0.05, 0.05, 70, 1, 0.15, 0)
A(comparator_pre_amp_2018_, L51_0, -0.285, -0.225, 0.05, 0.05, 9, 1, 0.165, 0)
A(comparator_pre_amp_2018_, L51_0, 7.715, -0.225, 0.05, 0.05, 9, 1, 0.165, 0)
A(comparator_pre_amp_2018_, L51_0, 2.575, 0.575, 0.05, 0.05, 5, 1, 0.2, 0)
A(comparator_pre_amp_2018_, L51_0, 5.375, 0.575, 0.05, 0.05, 5, 1, 0.2, 0)
A(comparator_pre_amp_2018_, L51_0, 2.315, 1.575, 0.05, 0.05, 9, 1, 0.165, 0)
A(comparator_pre_amp_2018_, L51_0, 5.115, 1.575, 0.05, 0.05, 9, 1, 0.165, 0)
A(comparator_pre_amp_2018_, L51_0, 1.175, 4.385, 0.05, 0.05, 1, 7, 0, 0.165)
A(comparator_pre_amp_2018_, L51_0, 7.575, 4.385, 0.05, 0.05, 1, 7, 0, 0.165)
A(comparator_pre_amp_2018_, L51_0, 0.5, 6.575, 0.05, 0.05, 6, 1, 0.19, 0)
A(comparator_pre_amp_2018_, L51_0, 2.7, 6.575, 0.05, 0.05, 6, 1, 0.19, 0)
A(comparator_pre_amp_2018_, L51_0, 5.1, 6.575, 0.05, 0.05, 6, 1, 0.19, 0)
A(comparator_pre_amp_2018_, L51_0, 7.3, 6.575, 0.05, 0.05, 6, 1, 0.19, 0)
A(comparator_pre_amp_2018_, L51_0, 2.595, 12.775, 0.05, 0.05, 24, 1, 0.155, 0)
R(comparator_pre_amp_2018_, L51_0, [(2.87,1.95,2.97,2.05), (3.03,1.95,3.13,2.05), (5.67,1.95,5.77,2.05), (5.83,1.95,5.93,2.05), (5.27,3.55,5.37,3.65), (5.43,3.55,5.53,3.65), (5.07,4.75,5.17,4.85), (5.23,4.75,5.33,4.85), (2.87,5.75,2.97,5.85), (3.03,5.75,3.13,5.85), (5.67,5.75,5.77,5.85), (5.83,5.75,5.93,5.85)])
A(comparator_pre_amp_2018_, L52_0, -0.805, -0.825, 0.05, 0.05, 70, 1, 0.15, 0)
A(comparator_pre_amp_2018_, L52_0, -0.285, -0.225, 0.05, 0.05, 9, 1, 0.165, 0)
A(comparator_pre_amp_2018_, L52_0, 7.715, -0.225, 0.05, 0.05, 9, 1, 0.165, 0)
A(comparator_pre_amp_2018_, L52_0, 2.575, 0.575, 0.05, 0.05, 5, 1, 0.2, 0)
A(comparator_pre_amp_2018_, L52_0, 5.375, 0.575, 0.05, 0.05, 5, 1, 0.2, 0)
A(comparator_pre_amp_2018_, L52_0, 2.315, 1.575, 0.05, 0.05, 9, 1, 0.165, 0)
A(comparator_pre_amp_2018_, L52_0, 5.115, 1.575, 0.05, 0.05, 9, 1, 0.165, 0)
A(comparator_pre_amp_2018_, L52_0, 1.175, 4.385, 0.05, 0.05, 1, 7, 0, 0.165)
A(comparator_pre_amp_2018_, L52_0, 7.575, 4.385, 0.05, 0.05, 1, 7, 0, 0.165)
A(comparator_pre_amp_2018_, L52_0, 0.5, 6.575, 0.05, 0.05, 6, 1, 0.19, 0)
A(comparator_pre_amp_2018_, L52_0, 2.7, 6.575, 0.05, 0.05, 6, 1, 0.19, 0)
A(comparator_pre_amp_2018_, L52_0, 5.1, 6.575, 0.05, 0.05, 6, 1, 0.19, 0)
A(comparator_pre_amp_2018_, L52_0, 7.3, 6.575, 0.05, 0.05, 6, 1, 0.19, 0)
A(comparator_pre_amp_2018_, L52_0, 2.595, 12.775, 0.05, 0.05, 24, 1, 0.155, 0)
A(comparator_pre_amp_2018_, L53_0, -0.805, -0.825, 0.05, 0.05, 70, 1, 0.15, 0)
A(comparator_pre_amp_2018_, L53_0, -0.285, -0.225, 0.05, 0.05, 9, 1, 0.165, 0)
A(comparator_pre_amp_2018_, L53_0, 7.715, -0.225, 0.05, 0.05, 9, 1, 0.165, 0)
A(comparator_pre_amp_2018_, L53_0, 2.575, 0.575, 0.05, 0.05, 5, 1, 0.2, 0)
A(comparator_pre_amp_2018_, L53_0, 5.375, 0.575, 0.05, 0.05, 5, 1, 0.2, 0)
A(comparator_pre_amp_2018_, L53_0, 2.315, 1.575, 0.05, 0.05, 9, 1, 0.165, 0)
A(comparator_pre_amp_2018_, L53_0, 5.115, 1.575, 0.05, 0.05, 9, 1, 0.165, 0)
A(comparator_pre_amp_2018_, L53_0, 1.175, 4.385, 0.05, 0.05, 1, 7, 0, 0.165)
A(comparator_pre_amp_2018_, L53_0, 7.575, 4.385, 0.05, 0.05, 1, 7, 0, 0.165)
A(comparator_pre_amp_2018_, L53_0, 0.5, 6.575, 0.05, 0.05, 6, 1, 0.19, 0)
A(comparator_pre_amp_2018_, L53_0, 2.7, 6.575, 0.05, 0.05, 6, 1, 0.19, 0)
A(comparator_pre_amp_2018_, L53_0, 5.1, 6.575, 0.05, 0.05, 6, 1, 0.19, 0)
A(comparator_pre_amp_2018_, L53_0, 7.3, 6.575, 0.05, 0.05, 6, 1, 0.19, 0)
A(comparator_pre_amp_2018_, L53_0, 2.595, 12.775, 0.05, 0.05, 24, 1, 0.155, 0)
A(comparator_pre_amp_2018_, L54_0, -0.805, -0.825, 0.05, 0.05, 70, 1, 0.15, 0)
A(comparator_pre_amp_2018_, L54_0, -0.285, -0.225, 0.05, 0.05, 9, 1, 0.165, 0)
A(comparator_pre_amp_2018_, L54_0, 7.715, -0.225, 0.05, 0.05, 9, 1, 0.165, 0)
A(comparator_pre_amp_2018_, L54_0, 2.575, 0.575, 0.05, 0.05, 5, 1, 0.2, 0)
A(comparator_pre_amp_2018_, L54_0, 5.375, 0.575, 0.05, 0.05, 5, 1, 0.2, 0)
A(comparator_pre_amp_2018_, L54_0, 2.315, 1.575, 0.05, 0.05, 9, 1, 0.165, 0)
A(comparator_pre_amp_2018_, L54_0, 5.115, 1.575, 0.05, 0.05, 9, 1, 0.165, 0)
A(comparator_pre_amp_2018_, L54_0, 1.175, 4.385, 0.05, 0.05, 1, 7, 0, 0.165)
A(comparator_pre_amp_2018_, L54_0, 7.575, 4.385, 0.05, 0.05, 1, 7, 0, 0.165)
A(comparator_pre_amp_2018_, L54_0, 0.5, 6.575, 0.05, 0.05, 6, 1, 0.19, 0)
A(comparator_pre_amp_2018_, L54_0, 2.7, 6.575, 0.05, 0.05, 6, 1, 0.19, 0)
A(comparator_pre_amp_2018_, L54_0, 5.1, 6.575, 0.05, 0.05, 6, 1, 0.19, 0)
A(comparator_pre_amp_2018_, L54_0, 7.3, 6.575, 0.05, 0.05, 6, 1, 0.19, 0)
A(comparator_pre_amp_2018_, L54_0, 2.595, 12.775, 0.05, 0.05, 24, 1, 0.155, 0)
A(comparator_pre_amp_2018_, L55_0, -0.805, -0.825, 0.05, 0.05, 70, 1, 0.15, 0)
A(comparator_pre_amp_2018_, L55_0, -0.285, -0.225, 0.05, 0.05, 9, 1, 0.165, 0)
A(comparator_pre_amp_2018_, L55_0, 7.715, -0.225, 0.05, 0.05, 9, 1, 0.165, 0)
A(comparator_pre_amp_2018_, L55_0, 2.575, 0.575, 0.05, 0.05, 5, 1, 0.2, 0)
A(comparator_pre_amp_2018_, L55_0, 5.375, 0.575, 0.05, 0.05, 5, 1, 0.2, 0)
A(comparator_pre_amp_2018_, L55_0, 2.315, 1.575, 0.05, 0.05, 9, 1, 0.165, 0)
A(comparator_pre_amp_2018_, L55_0, 5.115, 1.575, 0.05, 0.05, 9, 1, 0.165, 0)
A(comparator_pre_amp_2018_, L55_0, 1.175, 4.385, 0.05, 0.05, 1, 7, 0, 0.165)
A(comparator_pre_amp_2018_, L55_0, 7.575, 4.385, 0.05, 0.05, 1, 7, 0, 0.165)
A(comparator_pre_amp_2018_, L55_0, 0.5, 6.575, 0.05, 0.05, 6, 1, 0.19, 0)
A(comparator_pre_amp_2018_, L55_0, 2.7, 6.575, 0.05, 0.05, 6, 1, 0.19, 0)
A(comparator_pre_amp_2018_, L55_0, 5.1, 6.575, 0.05, 0.05, 6, 1, 0.19, 0)
A(comparator_pre_amp_2018_, L55_0, 7.3, 6.575, 0.05, 0.05, 6, 1, 0.19, 0)
A(comparator_pre_amp_2018_, L55_0, 2.595, 12.775, 0.05, 0.05, 24, 1, 0.155, 0)
R(comparator_pre_amp_2018_, L208_1, [(2.38,-0.18,3.62,0.6), (5.18,-0.18,6.42,0.6), (-0.22,0.34,1.02,1.6), (7.78,0.34,9.02,1.6), (2.38,2.14,3.62,3.4), (5.18,2.14,6.42,3.4), (-0.125,4.25,1.325,5.6), (7.475,4.25,8.925,5.6), (2.38,4.82,3.62,5.6), (5.18,4.82,6.42,5.6), (0.58,6.94,1.42,8.2), (2.78,6.94,3.62,8.2), (5.18,6.94,6.02,8.2), (7.38,6.94,8.22,8.2), (1.38,9.74,3.82,11), (4.98,9.74,7.42,11), (2.38,12.02,6.42,12.8)])
comparator_pre_amp_2018_.add(gdstk.Label('CLK', (4.4,13), layer=131, texttype=0))
comparator_pre_amp_2018_.add(gdstk.Label('CROSSN', (3,0.8), layer=131, texttype=0))
comparator_pre_amp_2018_.add(gdstk.Label('CROSSP', (5.8,0.8), layer=131, texttype=0))
comparator_pre_amp_2018_.add(gdstk.Label('GND', (7.6,4.9), layer=136, texttype=0))
comparator_pre_amp_2018_.add(gdstk.Label('INTERN', (8.2,5.6), layer=131, texttype=0))
comparator_pre_amp_2018_.add(gdstk.Label('INTERP', (0.6,5.6), layer=131, texttype=0))
comparator_pre_amp_2018_.add(gdstk.Label('OUTM', (5.8,-0.2), layer=131, texttype=0))
comparator_pre_amp_2018_.add(gdstk.Label('OUTP', (3,-0.2), layer=131, texttype=0))
comparator_pre_amp_2018_.add(gdstk.Label('VDD', (8.4,-0.2), layer=136, texttype=0))
comparator_pre_amp_2018_.add(gdstk.Label('VI+', (6.2,11.2), layer=131, texttype=0))
comparator_pre_amp_2018_.add(gdstk.Label('VI-', (2.6,11.2), layer=131, texttype=0))

lib.write_gds('COMPARATOR_PRE_AMP_2018_Modify_test_flow_flat.gds')
